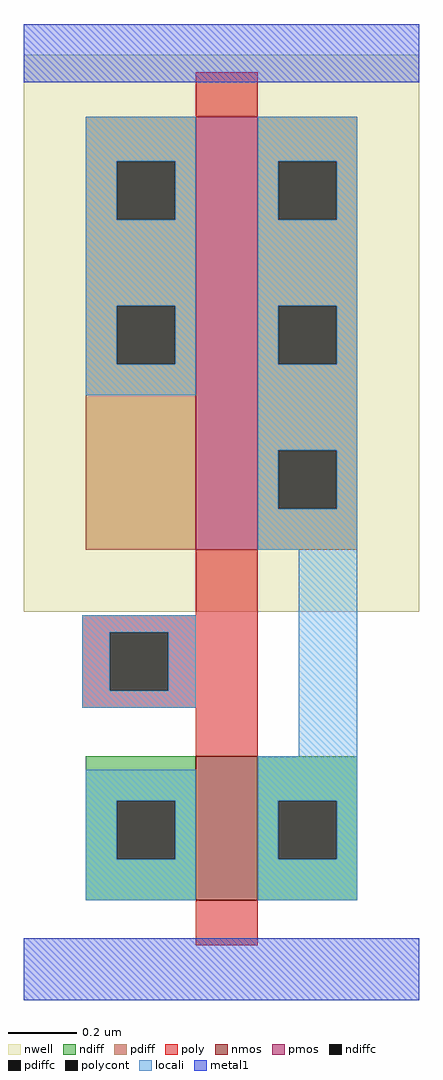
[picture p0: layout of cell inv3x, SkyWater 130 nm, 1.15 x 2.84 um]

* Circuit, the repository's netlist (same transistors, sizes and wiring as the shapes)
* SPICE3 file created from /home/sky/fossi_cochlea/mag/clkgen/inv3x.ext - technology: sky130A

X0 a_8_n11# a_n43_45# a_n42_n11# SUB sky130_fd_pr__nfet_01v8 ad=0p pd=0u as=0p ps=0u w=420000u l=180000u
X1 a_8_n11# a_n43_45# a_n42_91# w_n60_73# sky130_fd_pr__pfet_01v8 ad=0p pd=0u as=0p ps=0u w=1.26e+06u l=180000u

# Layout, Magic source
magic
tech sky130A
<< nwell >>
rect -60 73 55 235
<< nmos >>
rect -10 -11 8 31
<< pmos >>
rect -10 91 8 217
<< ndiff >>
rect -42 18 -10 31
rect -42 1 -33 18
rect -16 1 -10 18
rect -42 -11 -10 1
rect 8 18 37 31
rect 8 1 14 18
rect 31 1 37 18
rect 8 -11 37 1
<< pdiff >>
rect -42 204 -10 217
rect -42 187 -33 204
rect -16 187 -10 204
rect -42 162 -10 187
rect -42 145 -33 162
rect -16 145 -10 162
rect -42 91 -10 145
rect 8 204 37 217
rect 8 187 14 204
rect 31 187 37 204
rect 8 162 37 187
rect 8 145 14 162
rect 31 145 37 162
rect 8 120 37 145
rect 8 103 14 120
rect 31 103 37 120
rect 8 91 37 103
<< ndiffc >>
rect -33 1 -16 18
rect 14 1 31 18
<< pdiffc >>
rect -33 187 -16 204
rect -33 145 -16 162
rect 14 187 31 204
rect 14 145 31 162
rect 14 103 31 120
<< poly >>
rect -10 217 8 230
rect -10 72 8 91
rect -43 67 8 72
rect -43 50 -35 67
rect -18 50 8 67
rect -43 45 8 50
rect -10 31 8 45
rect -10 -24 8 -11
<< polycont >>
rect -35 50 -18 67
<< locali >>
rect -42 204 -10 217
rect -42 187 -33 204
rect -16 187 -10 204
rect -42 162 -10 187
rect -42 145 -33 162
rect -16 145 -10 162
rect -42 136 -10 145
rect 8 204 37 217
rect 8 187 14 204
rect 31 187 37 204
rect 8 162 37 187
rect 8 145 14 162
rect 31 145 37 162
rect 8 120 37 145
rect 8 103 14 120
rect 31 103 37 120
rect 8 91 37 103
rect -43 67 -10 72
rect -43 50 -35 67
rect -18 50 -10 67
rect -43 45 -10 50
rect 20 31 37 91
rect -42 18 -10 27
rect -42 1 -33 18
rect -16 1 -10 18
rect -42 -11 -10 1
rect 8 18 37 31
rect 8 1 14 18
rect 31 1 37 18
rect 8 -11 37 1
<< metal1 >>
rect -60 227 55 244
rect -60 -40 55 -22
<< end >>
